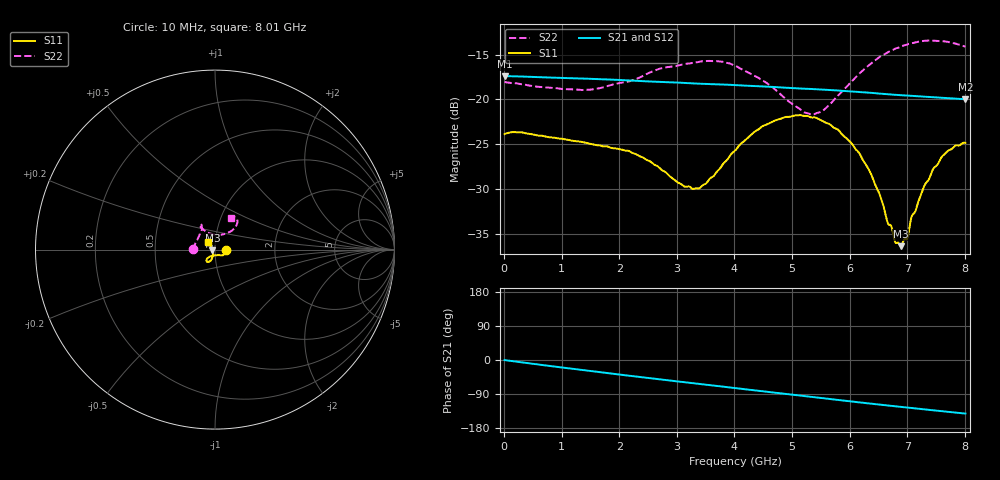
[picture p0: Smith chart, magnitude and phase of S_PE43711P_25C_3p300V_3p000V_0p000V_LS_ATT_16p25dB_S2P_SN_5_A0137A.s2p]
! Device ID: PE43711P
! File Path: z:\PE43711P\CHAR_NOM_04282014\AMB\3p300\LS_ATT_16p25dB\PE43711P_AMB_3p300V_3p000V_0p000V_LS_ATT_16p25dB_S2P_SN_5_A0137A.s2p
! Serial: 5
! Lot: A0137A
! Temp: 25C
! VDD: 3.300
! VSS: 0.000
! Control_Hi: 3.000
! Control_Lo: 0.000
! Attenuation Step: 16.25dB
! Port 1: RF1
! Port 2: RF2
! ThroughPath:1-2
! IDD: 0.0001269988
! ISS: -5.98e-008
#  Hz  S  RI  R  50
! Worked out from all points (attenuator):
!   801 points, 10 MHz to 8.01 GHz, reference 50 ohm
!   highest |S21| = -17.42 dB at 10 MHz (marker M1); lowest = -20.0 dB at 8.01 GHz (marker M2)
!   lowest |S11| = -36.4 dB at 6.89 GHz (marker M3), VSWR 1.03, Z = 48.5 - j0.289 ohm
!   |S11| at or under -10 dB: start of sweep to end of sweep
!   |S22| runs from -21.7 to -13.4 dB; largest |S21 - S12| = 0.00032
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1e7  0.0639 7.69e-05  0.1346 -0.000624  0.1348 -0.00065  -0.1251 0.000972
1.35e9  0.0505 -0.0279  0.1172 -0.0576  0.1173 -0.0577  -0.0985 0.0548
2.16e9  0.0395 -0.0331  0.0959 -0.0841  0.096 -0.0841  -0.0784 0.0981
2.68e9  0.0278 -0.0314  0.0796 -0.0966  0.0796 -0.0967  -0.0739 0.1276
3.12e9  0.0112 -0.0308  0.0646 -0.1052  0.0647 -0.1053  -0.075 0.1377
3.37e9  -2.68e-05 -0.0318  0.0559 -0.1088  0.056 -0.1088  -0.0771 0.142
4.01e9  -0.0317 -0.0408  0.0329 -0.1154  0.0328 -0.1155  -0.083 0.1298
4.34e9  -0.0433 -0.0492  0.0208 -0.1168  0.0208 -0.1168  -0.0708 0.1159
4.68e9  -0.0476 -0.0585  0.00829 -0.1168  0.0083 -0.1168  -0.0532 0.1023
5.35e9  -0.0398 -0.0683  -0.0149 -0.1131  -0.0149 -0.1133  0.00635 0.0818
5.54e9  -0.0338 -0.0674  -0.0213 -0.1113  -0.0213 -0.1113  0.0279 0.082
5.79e9  -0.0261 -0.0627  -0.0295 -0.1081  -0.0296 -0.108  0.0556 0.088
6.16e9  -0.0164 -0.0476  -0.0406 -0.1021  -0.0407 -0.1021  0.0916 0.1037
6.38e9  -0.0127 -0.0355  -0.0467 -0.0981  -0.0467 -0.0982  0.1079 0.1171
6.68e9  -0.0126 -0.0154  -0.0539 -0.0921  -0.0538 -0.0922  0.1209 0.1391
6.8e9  -0.0133 -0.00839  -0.0566 -0.0896  -0.0565 -0.0897  0.1237 0.1474
6.89e9  -0.0148 -0.00297  -0.0585 -0.0877  -0.0584 -0.0878  0.1252 0.1526
6.99e9  -0.0162 0.0028  -0.0606 -0.0857  -0.0606 -0.0857  0.1253 0.1581
7.09e9  -0.0205 0.00946  -0.0628 -0.0835  -0.0627 -0.0836  0.124 0.1645
7.46e9  -0.0302 0.0281  -0.0698 -0.0752  -0.0698 -0.0753  0.1124 0.1805
7.69e9  -0.0365 0.0356  -0.0735 -0.0699  -0.0736 -0.0698  0.1009 0.1838
8.01e9  -0.0408 0.04  -0.0782 -0.0625  -0.0784 -0.0623  0.0872 0.1761
